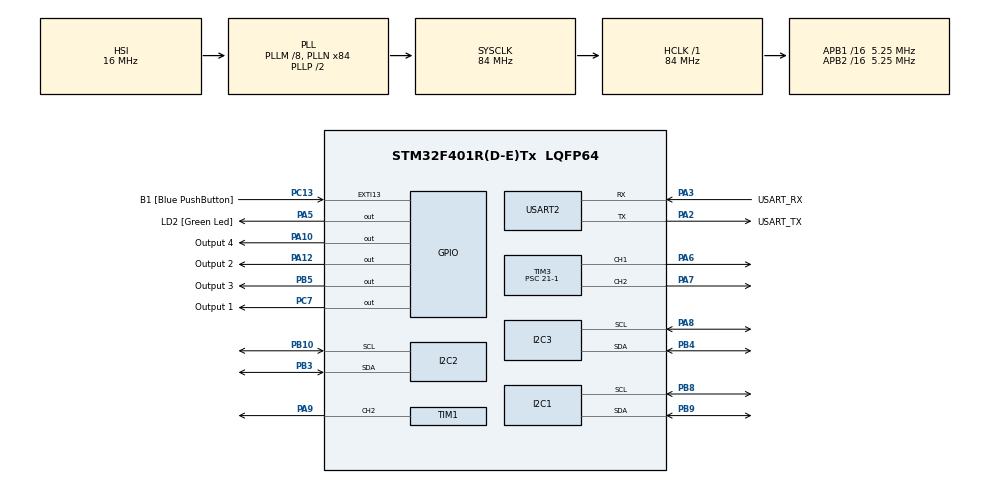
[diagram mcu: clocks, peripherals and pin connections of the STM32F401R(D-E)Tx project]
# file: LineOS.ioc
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FREERTOS.Tasks01=heartbeatTsk,8,128,hearbeatTaskFunc,Default,NULL,Dynamic,NULL,NULL;grabberMotorTsk,8,128,grabberMotorTaskFunc,Default,NULL,Dynamic,NULL,NULL;colourSenseRead,8,256,colourSensorReadTsk,Default,NULL,Dynamic,NULL,NULL;wheelMotorTsk,8,256,wheelMotorTask,Default,NULL,Dynamic,NULL,NULL
FREERTOS.configUSE_TICK_HOOK=1
I2C1.OwnAddress=0
Mcu.Family=STM32F4
Mcu.Name=STM32F401R(D-E)Tx
Mcu.Package=LQFP64
NVIC.PriorityGroup=NVIC_PRIORITYGROUP_4
NVIC.TIM2_IRQn=true\:15\:0\:false\:false\:true\:false\:false\:true\:true
NVIC.TimeBase=TIM2_IRQn
NVIC.TimeBaseIP=TIM2
PA10.GPIO_Label=Output 4
PA10.GPIO_Speed=GPIO_SPEED_FREQ_MEDIUM
PA10.Signal=GPIO_Output
PA12.GPIO_Label=Output 2
PA12.GPIO_Speed=GPIO_SPEED_FREQ_MEDIUM
PA12.Signal=GPIO_Output
PA13.GPIO_Label=TMS
PA13.Mode=Serial_Wire
PA13.Signal=SYS_JTMS-SWDIO
PA14.GPIO_Label=TCK
PA14.Mode=Serial_Wire
PA14.Signal=SYS_JTCK-SWCLK
PA2.GPIO_Label=USART_TX
PA2.GPIO_Mode=GPIO_MODE_AF_PP
PA2.GPIO_PuPd=GPIO_NOPULL
PA2.GPIO_Speed=GPIO_SPEED_FREQ_LOW
PA2.Mode=Asynchronous
PA2.Signal=USART2_TX
PA3.GPIO_Label=USART_RX
PA3.GPIO_Mode=GPIO_MODE_AF_PP
PA3.GPIO_PuPd=GPIO_NOPULL
PA3.GPIO_Speed=GPIO_SPEED_FREQ_LOW
PA3.Mode=Asynchronous
PA3.Signal=USART2_RX
PA5.GPIO_Label=LD2 [Green Led]
PA5.GPIO_Mode=GPIO_MODE_OUTPUT_PP
PA5.GPIO_PuPd=GPIO_NOPULL
PA5.GPIO_Speed=GPIO_SPEED_FREQ_LOW
PA5.Signal=GPIO_Output
PA6.Signal=S_TIM3_CH1
PA7.Signal=S_TIM3_CH2
PA8.Mode=I2C
PA8.Signal=I2C3_SCL
PA9.Signal=S_TIM1_CH2
PB10.GPIO_Pu=GPIO_PULLUP
PB10.Mode=I2C
PB10.Signal=I2C2_SCL
PB3.Mode=I2C
PB3.Signal=I2C2_SDA
PB4.GPIO_Pu=GPIO_PULLUP
PB4.Mode=I2C
PB4.Signal=I2C3_SDA
PB5.GPIO_Label=Output 3
PB5.GPIO_Speed=GPIO_SPEED_FREQ_MEDIUM
PB5.Signal=GPIO_Output
PB8.GPIO_Pu=GPIO_PULLUP
PB8.Mode=I2C
PB8.Signal=I2C1_SCL
PB9.GPIO_Pu=GPIO_PULLUP
PB9.Mode=I2C
PB9.Signal=I2C1_SDA
PC13-ANTI_TAMP.GPIO_Label=B1 [Blue PushButton]
PC13-ANTI_TAMP.GPIO_ModeDefaultEXTI=GPIO_MODE_IT_FALLING
PC13-ANTI_TAMP.GPIO_PuPd=GPIO_NOPULL
PC13-ANTI_TAMP.Signal=GPXTI13
PC14-OSC32_IN.Mode=LSE-External-Oscillator
PC14-OSC32_IN.Signal=RCC_OSC32_IN
PC15-OSC32_OUT.Mode=LSE-External-Oscillator
PC15-OSC32_OUT.Signal=RCC_OSC32_OUT
PC7.GPIO_Label=Output 1
PC7.GPIO_Speed=GPIO_SPEED_FREQ_MEDIUM
PC7.Signal=GPIO_Output
PH0\ -\ OSC_IN.Mode=HSE-External-Clock-Source
PH0\ -\ OSC_IN.Signal=RCC_OSC_IN
PH1\ -\ OSC_OUT.Mode=HSE-External-Clock-Source
PH1\ -\ OSC_OUT.Signal=RCC_OSC_OUT
ProjectManager.HeapSize=0x200
ProjectManager.StackSize=0x400
ProjectManager.TargetToolchain=STM32CubeIDE
RCC.48MHZClocksFreq_Value=24000000
RCC.AHBFreq_Value=84000000
RCC.APB1CLKDivider=RCC_HCLK_DIV16
RCC.APB1Freq_Value=5250000
RCC.APB1TimFreq_Value=10500000
RCC.APB2CLKDivider=RCC_HCLK_DIV16
RCC.APB2Freq_Value=5250000
RCC.APB2TimFreq_Value=10500000
RCC.CortexFreq_Value=84000000
RCC.HCLKFreq_Value=84000000
RCC.HSE_VALUE=8000000
RCC.HSI_VALUE=16000000
RCC.PLLM=8
RCC.PLLN=84
RCC.PLLQ=7
RCC.SYSCLKFreq_VALUE=84000000
RCC.SYSCLKSource=RCC_SYSCLKSOURCE_PLLCLK
RCC.VCOOutputFreq_Value=168000000
SH.S_TIM1_CH2.0=TIM1_CH2,PWM Generation2 CH2
SH.S_TIM3_CH1.0=TIM3_CH1,PWM Generation1 CH1
SH.S_TIM3_CH2.0=TIM3_CH2,PWM Generation2 CH2
TIM1.Channel-PWM\ Generation2\ CH2=TIM_CHANNEL_2
TIM1.Period=1000-1
TIM1.Prescaler=210-1
TIM11.Prescaler=105-1
TIM3.Channel-PWM\ Generation1\ CH1=TIM_CHANNEL_1
TIM3.Channel-PWM\ Generation2\ CH2=TIM_CHANNEL_2
TIM3.Period=250-1
TIM3.Prescaler=21-1
USART2.VirtualMode=VM_ASYNC
VP_FREERTOS_VS_CMSIS_V2.Mode=CMSIS_V2
VP_SYS_VS_tim2.Mode=TIM2
VP_TIM11_VS_ClockSourceINT.Mode=Enable_Timer
board=NUCLEO-F401RE

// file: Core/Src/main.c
/* USER CODE BEGIN Header */
/**
  ******************************************************************************
  * @file           : main.c
  * @brief          : Main program body
  ******************************************************************************
  * @attention
  *
  * Copyright (c) 2024 STMicroelectronics.
  * All rights reserved.
  *
  * This software is licensed under terms that can be found in the LICENSE file
  * in the root directory of this software component.
  * If no LICENSE file comes with this software, it is provided AS-IS.
  *
  ******************************************************************************
  */
/* USER CODE END Header */
#include "main.h"
#include "cmsis_os.h"

/* USER CODE BEGIN Includes */
#include <stdio.h>
#include <stdbool.h>
/* USER CODE END Includes */

/* USER CODE BEGIN PD */
// Only one address is possible for the APDS9960, no alternates are available
static const uint16_t _APDS9960_I2C_ADDRESS = 0x39<<1; //use 8-bit address
//#define _DEVICE_IDS = (const(0xAB), const(0xA8))
#define _APDS9960_ENABLE 0x80
#define _APDS9960_ATIME 0x81
#define _APDS9960_PILT 0x89
#define _APDS9960_PIHT 0x8B
#define _APDS9960_PERS 0x8C
#define _APDS9960_CONTROL 0x8F
#define _APDS9960_ID 0x92
#define _APDS9960_STATUS 0x93
#define _APDS9960_CDATAL 0x94
#define _APDS9960_RDATAL 0x96
#define _APDS9960_GDATAL 0x98
#define _APDS9960_BDATAL 0x9A
#define _APDS9960_PDATA 0x9C
#define _APDS9960_GPENTH 0xA0
#define _APDS9960_GEXTH 0xA1
#define _APDS9960_GCONF1 0xA2
#define _APDS9960_GCONF2 0xA3
#define _APDS9960_GPULSE 0xA6
#define _APDS9960_GCONF4 0xAB
#define _APDS9960_GFLVL 0xAE
#define _APDS9960_GSTATUS 0xAF
#define _APDS9960_AICLEAR 0xE7
#define _APDS9960_GFIFO_U 0xFC
#define _BIT_MASK_GCONF4_GFIFO_CLR 0x04
#define _BIT_MASK_ENABLE_EN 0x01
#define _BIT_MASK_ENABLE_COLOR 0x02
#define _BIT_MASK_STATUS_AVALID 0x01

static const uint16_t _MPU6050_I2C_ADDRESS = 0x68<<1;  //use 8-bit address
#define _MPU6050_ACCEL_XOUTH 0x3B
#define _MPU6050_ACCEL_YOUTH 0x3D
#define _MPU6050_ACCEL_ZOUTH 0x3F

#define _MPU6050_GYRO_XOUTH 0x43
#define _MPU6050_GYRO_YOUTH 0x45
#define _MPU6050_GYRO_ZOUTH 0x47

/* USER CODE END PD */

I2C_HandleTypeDef hi2c1;
I2C_HandleTypeDef hi2c2;
I2C_HandleTypeDef hi2c3;

TIM_HandleTypeDef htim1;
TIM_HandleTypeDef htim3;
TIM_HandleTypeDef htim11;

UART_HandleTypeDef huart2;

/* Definitions for heartbeatTsk */
osThreadId_t heartbeatTskHandle;
const osThreadAttr_t heartbeatTsk_attributes = {
  .name = "heartbeatTsk",
  .stack_size = 128 * 4,
  .priority = (osPriority_t) osPriorityLow,
};
/* Definitions for grabberMotorTsk */
osThreadId_t grabberMotorTskHandle;
const osThreadAttr_t grabberMotorTsk_attributes = {
  .name = "grabberMotorTsk",
  .stack_size = 128 * 4,
  .priority = (osPriority_t) osPriorityLow,
};
/* Definitions for colourSenseRead */
osThreadId_t colourSenseReadHandle;
const osThreadAttr_t colourSenseRead_attributes = {
  .name = "colourSenseRead",
  .stack_size = 256 * 4,
  .priority = (osPriority_t) osPriorityLow,
};
/* Definitions for wheelMotorTsk */
osThreadId_t wheelMotorTskHandle;
const osThreadAttr_t wheelMotorTsk_attributes = {
  .name = "wheelMotorTsk",
  .stack_size = 256 * 4,
  .priority = (osPriority_t) osPriorityLow,
};

void SystemClock_Config(void);
static void MX_GPIO_Init(void);
static void MX_USART2_UART_Init(void);
static void MX_TIM3_Init(void);
static void MX_I2C1_Init(void);
static void MX_I2C3_Init(void);
static void MX_TIM1_Init(void);
static void MX_I2C2_Init(void);
static void MX_TIM11_Init(void);
void hearbeatTaskFunc(void *argument);
void grabberMotorTaskFunc(void *argument);
void colourSensorReadTsk(void *argument);
void wheelMotorTask(void *argument);

/* USER CODE BEGIN PFP */
#ifdef __GNUC__
#define PUTCHAR_PROTOTYPE int __io_putchar(int ch)
#else
#define PUTCHAR_PROTOTYPE int fputc(int ch, FILE *f)
#endif

PUTCHAR_PROTOTYPE
{
  HAL_UART_Transmit(&huart2, (uint8_t *)&ch, 1, HAL_MAX_DELAY);
  return ch;
}

/* USER CODE END PFP */

/* USER CODE BEGIN 0 */
float red_ratio_R = 0;
float red_ratio_L = 0;

float p_term = 0;
float i_term = 0;
float d_term = 0;

bool enable_autonomy = false;
bool is_rescue_complete = false;
bool is_dropoff_complete = false;
bool near_target_milestone = false;
bool near_start_line = false;

float control_signal = 0;
float error_signal = 0;
uint32_t leftMotorDuty = 0;
uint32_t rightMotorDuty = 0;
uint32_t appliedLeftMotorDuty = 0;
uint32_t appliedRightMotorDuty = 0;

uint16_t clear_data_L = 0;
uint16_t red_data_L = 0;
uint16_t green_data_L = 0;
uint16_t blue_data_L = 0;

uint16_t clear_data_R = 0;
uint16_t red_data_R = 0;
uint16_t green_data_R = 0;
uint16_t blue_data_R = 0;

uint16_t clear_data_C = 0;
uint16_t red_data_C = 0;
uint16_t green_data_C = 0;
uint16_t blue_data_C = 0;

float accel_x = 0;
float accel_y = 0;
float accel_z = 0;

float gyro_x = 0;
float gyro_y = 0;
float gyro_z = 0;

float angle_x = 0;
float angle_y = 0;
float angle_z = 0;

float total_time = 0;
float autonomy_start_time = 0;
float target_reached_time = 0;
float dropoff_complete_time = 0;

uint32_t sensorReadCycleTime = 0;
uint32_t controlLoopCycleTime = 0;

/* USER CODE END 0 */

int main(void)
{

  /* MCU Configuration--------------------------------------------------------*/

  /* Reset of all peripherals, Initializes the Flash interface and the Systick. */
  HAL_Init();

  /* Configure the system clock */
  SystemClock_Config();

  /* Initialize all configured peripherals */
  MX_GPIO_Init();
  MX_USART2_UART_Init();
  MX_TIM3_Init();
  MX_I2C1_Init();
  MX_I2C3_Init();
  MX_TIM1_Init();
  MX_I2C2_Init();
  MX_TIM11_Init();
  /* USER CODE BEGIN 2 */

  // Start timer for grabber servo
  HAL_TIM_PWM_Start(&htim1, TIM_CHANNEL_2);
  //htim1.Instance->CCR2 = 50; // initialize pulse width to 1ms = 0 degree positon

  // Start timer for motor driver (left and right motors)
  HAL_TIM_PWM_Start(&htim3, TIM_CHANNEL_1);
  HAL_TIM_PWM_Start(&htim3, TIM_CHANNEL_2);
  htim3.Instance->CCR1 = 0; // initialize duty cycle to 0% - Motor off
  htim3.Instance->CCR2 = 0; // initialize duty cycle to 0% - Motor off

  HAL_TIM_Base_Start(&htim11);	// 100Khz

  /* USER CODE END 2 */

  /* Init scheduler */
  osKernelInitialize();

  /* Create the thread(s) */
  /* creation of heartbeatTsk */
  heartbeatTskHandle = osThreadNew(hearbeatTaskFunc, NULL, &heartbeatTsk_attributes);

  /* creation of grabberMotorTsk */
  grabberMotorTskHandle = osThreadNew(grabberMotorTaskFunc, NULL, &grabberMotorTsk_attributes);

  /* creation of colourSenseRead */
  colourSenseReadHandle = osThreadNew(colourSensorReadTsk, NULL, &colourSenseRead_attributes);

  /* creation of wheelMotorTsk */
  wheelMotorTskHandle = osThreadNew(wheelMotorTask, NULL, &wheelMotorTsk_attributes);

  /* Start scheduler */
  osKernelStart();
  /* We should never get here as control is now taken by the scheduler */
  /* Infinite loop */
  while (1)
  {

  }
}

void SystemClock_Config(void)
{
  RCC_OscInitTypeDef RCC_OscInitStruct = {0};
  RCC_ClkInitTypeDef RCC_ClkInitStruct = {0};

  /** Configure the main internal regulator output voltage
  */
  __HAL_RCC_PWR_CLK_ENABLE();
  __HAL_PWR_VOLTAGESCALING_CONFIG(PWR_REGULATOR_VOLTAGE_SCALE2);

  /** Initializes the RCC Oscillators according to the specified parameters
  * in the RCC_OscInitTypeDef structure.
  */
  RCC_OscInitStruct.OscillatorType = RCC_OSCILLATORTYPE_HSI;
  RCC_OscInitStruct.HSIState = RCC_HSI_ON;
  RCC_OscInitStruct.HSICalibrationValue = RCC_HSICALIBRATION_DEFAULT;
  RCC_OscInitStruct.PLL.PLLState = RCC_PLL_ON;
  RCC_OscInitStruct.PLL.PLLSource = RCC_PLLSOURCE_HSI;
  RCC_OscInitStruct.PLL.PLLM = 8;
  RCC_OscInitStruct.PLL.PLLN = 84;
  RCC_OscInitStruct.PLL.PLLP = RCC_PLLP_DIV2;
  RCC_OscInitStruct.PLL.PLLQ = 7;
  if (HAL_RCC_OscConfig(&RCC_OscInitStruct) != HAL_OK)
  {
    Error_Handler();
  }

  /** Initializes the CPU, AHB and APB buses clocks
  */
  RCC_ClkInitStruct.ClockType = RCC_CLOCKTYPE_HCLK|RCC_CLOCKTYPE_SYSCLK
                              |RCC_CLOCKTYPE_PCLK1|RCC_CLOCKTYPE_PCLK2;
  RCC_ClkInitStruct.SYSCLKSource = RCC_SYSCLKSOURCE_PLLCLK;
  RCC_ClkInitStruct.AHBCLKDivider = RCC_SYSCLK_DIV1;
  RCC_ClkInitStruct.APB1CLKDivider = RCC_HCLK_DIV16;
  RCC_ClkInitStruct.APB2CLKDivider = RCC_HCLK_DIV16;

  if (HAL_RCC_ClockConfig(&RCC_ClkInitStruct, FLASH_LATENCY_2) != HAL_OK)
  {
    Error_Handler();
  }
}

static void MX_I2C1_Init(void)
{

  hi2c1.Instance = I2C1;
  hi2c1.Init.ClockSpeed = 100000;
  hi2c1.Init.DutyCycle = I2C_DUTYCYCLE_2;
  hi2c1.Init.OwnAddress1 = 0;
  hi2c1.Init.AddressingMode = I2C_ADDRESSINGMODE_7BIT;
  hi2c1.Init.DualAddressMode = I2C_DUALADDRESS_DISABLE;
  hi2c1.Init.OwnAddress2 = 0;
  hi2c1.Init.GeneralCallMode = I2C_GENERALCALL_DISABLE;
  hi2c1.Init.NoStretchMode = I2C_NOSTRETCH_DISABLE;
  if (HAL_I2C_Init(&hi2c1) != HAL_OK)
  {
    Error_Handler();
  }

}

static void MX_I2C2_Init(void)
{

  hi2c2.Instance = I2C2;
  hi2c2.Init.ClockSpeed = 100000;
  hi2c2.Init.DutyCycle = I2C_DUTYCYCLE_2;
  hi2c2.Init.OwnAddress1 = 0;
  hi2c2.Init.AddressingMode = I2C_ADDRESSINGMODE_7BIT;
  hi2c2.Init.DualAddressMode = I2C_DUALADDRESS_DISABLE;
  hi2c2.Init.OwnAddress2 = 0;
  hi2c2.Init.GeneralCallMode = I2C_GENERALCALL_DISABLE;
  hi2c2.Init.NoStretchMode = I2C_NOSTRETCH_DISABLE;
  if (HAL_I2C_Init(&hi2c2) != HAL_OK)
  {
    Error_Handler();
  }

}

static void MX_I2C3_Init(void)
{

  hi2c3.Instance = I2C3;
  hi2c3.Init.ClockSpeed = 100000;
  hi2c3.Init.DutyCycle = I2C_DUTYCYCLE_2;
  hi2c3.Init.OwnAddress1 = 0;
  hi2c3.Init.AddressingMode = I2C_ADDRESSINGMODE_7BIT;
  hi2c3.Init.DualAddressMode = I2C_DUALADDRESS_DISABLE;
  hi2c3.Init.OwnAddress2 = 0;
  hi2c3.Init.GeneralCallMode = I2C_GENERALCALL_DISABLE;
  hi2c3.Init.NoStretchMode = I2C_NOSTRETCH_DISABLE;
  if (HAL_I2C_Init(&hi2c3) != HAL_OK)
  {
    Error_Handler();
  }

}

static void MX_TIM1_Init(void)
{

  TIM_MasterConfigTypeDef sMasterConfig = {0};
  TIM_OC_InitTypeDef sConfigOC = {0};
  TIM_BreakDeadTimeConfigTypeDef sBreakDeadTimeConfig = {0};

  htim1.Instance = TIM1;
  htim1.Init.Prescaler = 210-1;
  htim1.Init.CounterMode = TIM_COUNTERMODE_UP;
  htim1.Init.Period = 1000-1;
  htim1.Init.ClockDivision = TIM_CLOCKDIVISION_DIV1;
  htim1.Init.RepetitionCounter = 0;
  htim1.Init.AutoReloadPreload = TIM_AUTORELOAD_PRELOAD_DISABLE;
  if (HAL_TIM_PWM_Init(&htim1) != HAL_OK)
  {
    Error_Handler();
  }
  sMasterConfig.MasterOutputTrigger = TIM_TRGO_RESET;
  sMasterConfig.MasterSlaveMode = TIM_MASTERSLAVEMODE_DISABLE;
  if (HAL_TIMEx_MasterConfigSynchronization(&htim1, &sMasterConfig) != HAL_OK)
  {
    Error_Handler();
  }
  sConfigOC.OCMode = TIM_OCMODE_PWM1;
  sConfigOC.Pulse = 0;
  sConfigOC.OCPolarity = TIM_OCPOLARITY_HIGH;
  sConfigOC.OCNPolarity = TIM_OCNPOLARITY_HIGH;
  sConfigOC.OCFastMode = TIM_OCFAST_DISABLE;
  sConfigOC.OCIdleState = TIM_OCIDLESTATE_RESET;
  sConfigOC.OCNIdleState = TIM_OCNIDLESTATE_RESET;
  if (HAL_TIM_PWM_ConfigChannel(&htim1, &sConfigOC, TIM_CHANNEL_2) != HAL_OK)
  {
    Error_Handler();
  }
  sBreakDeadTimeConfig.OffStateRunMode = TIM_OSSR_DISABLE;
  sBreakDeadTimeConfig.OffStateIDLEMode = TIM_OSSI_DISABLE;
  sBreakDeadTimeConfig.LockLevel = TIM_LOCKLEVEL_OFF;
  sBreakDeadTimeConfig.DeadTime = 0;
  sBreakDeadTimeConfig.BreakState = TIM_BREAK_DISABLE;
  sBreakDeadTimeConfig.BreakPolarity = TIM_BREAKPOLARITY_HIGH;
  sBreakDeadTimeConfig.AutomaticOutput = TIM_AUTOMATICOUTPUT_DISABLE;
  if (HAL_TIMEx_ConfigBreakDeadTime(&htim1, &sBreakDeadTimeConfig) != HAL_OK)
  {
    Error_Handler();
  }
  HAL_TIM_MspPostInit(&htim1);

}

static void MX_TIM3_Init(void)
{

  TIM_MasterConfigTypeDef sMasterConfig = {0};
  TIM_OC_InitTypeDef sConfigOC = {0};

  htim3.Instance = TIM3;
  htim3.Init.Prescaler = 21-1;
  htim3.Init.CounterMode = TIM_COUNTERMODE_UP;
  htim3.Init.Period = 250-1;
  htim3.Init.ClockDivision = TIM_CLOCKDIVISION_DIV1;
  htim3.Init.AutoReloadPreload = TIM_AUTORELOAD_PRELOAD_DISABLE;
  if (HAL_TIM_PWM_Init(&htim3) != HAL_OK)
  {
    Error_Handler();
  }
  sMasterConfig.MasterOutputTrigger = TIM_TRGO_RESET;
  sMasterConfig.MasterSlaveMode = TIM_MASTERSLAVEMODE_DISABLE;
  if (HAL_TIMEx_MasterConfigSynchronization(&htim3, &sMasterConfig) != HAL_OK)
  {
    Error_Handler();
  }
  sConfigOC.OCMode = TIM_OCMODE_PWM1;
  sConfigOC.Pulse = 0;
  sConfigOC.OCPolarity = TIM_OCPOLARITY_HIGH;
  sConfigOC.OCFastMode = TIM_OCFAST_DISABLE;
  if (HAL_TIM_PWM_ConfigChannel(&htim3, &sConfigOC, TIM_CHANNEL_1) != HAL_OK)
  {
    Error_Handler();
  }
  if (HAL_TIM_PWM_ConfigChannel(&htim3, &sConfigOC, TIM_CHANNEL_2) != HAL_OK)
  {
    Error_Handler();
  }
  HAL_TIM_MspPostInit(&htim3);

}

static void MX_TIM11_Init(void)
{

  htim11.Instance = TIM11;
  htim11.Init.Prescaler = 105-1;
  htim11.Init.CounterMode = TIM_COUNTERMODE_UP;
  htim11.Init.Period = 65535;
  htim11.Init.ClockDivision = TIM_CLOCKDIVISION_DIV1;
  htim11.Init.AutoReloadPreload = TIM_AUTORELOAD_PRELOAD_DISABLE;
  if (HAL_TIM_Base_Init(&htim11) != HAL_OK)
  {
    Error_Handler();
  }

}

static void MX_USART2_UART_Init(void)
{

  huart2.Instance = USART2;
  huart2.Init.BaudRate = 115200;
  huart2.Init.WordLength = UART_WORDLENGTH_8B;
  huart2.Init.StopBits = UART_STOPBITS_1;
  huart2.Init.Parity = UART_PARITY_NONE;
  huart2.Init.Mode = UART_MODE_TX_RX;
  huart2.Init.HwFlowCtl = UART_HWCONTROL_NONE;
  huart2.Init.OverSampling = UART_OVERSAMPLING_16;
  if (HAL_UART_Init(&huart2) != HAL_OK)
  {
    Error_Handler();
  }

}

static void MX_GPIO_Init(void)
{
  GPIO_InitTypeDef GPIO_InitStruct = {0};

  /* GPIO Ports Clock Enable */
  __HAL_RCC_GPIOC_CLK_ENABLE();
  __HAL_RCC_GPIOH_CLK_ENABLE();
  __HAL_RCC_GPIOA_CLK_ENABLE();
  __HAL_RCC_GPIOB_CLK_ENABLE();

  /*Configure GPIO pin Output Level */
  HAL_GPIO_WritePin(GPIOA, LD2_Pin|Output_4_Pin|Output_2_Pin, GPIO_PIN_RESET);

  /*Configure GPIO pin Output Level */
  HAL_GPIO_WritePin(Output_1_GPIO_Port, Output_1_Pin, GPIO_PIN_RESET);

  /*Configure GPIO pin Output Level */
  HAL_GPIO_WritePin(Output_3_GPIO_Port, Output_3_Pin, GPIO_PIN_RESET);

  /*Configure GPIO pin : B1_Pin */
  GPIO_InitStruct.Pin = B1_Pin;
  GPIO_InitStruct.Mode = GPIO_MODE_IT_FALLING;
  GPIO_InitStruct.Pull = GPIO_NOPULL;
  HAL_GPIO_Init(B1_GPIO_Port, &GPIO_InitStruct);

  /*Configure GPIO pin : LD2_Pin */
  GPIO_InitStruct.Pin = LD2_Pin;
  GPIO_InitStruct.Mode = GPIO_MODE_OUTPUT_PP;
  GPIO_InitStruct.Pull = GPIO_NOPULL;
  GPIO_InitStruct.Speed = GPIO_SPEED_FREQ_LOW;
  HAL_GPIO_Init(LD2_GPIO_Port, &GPIO_InitStruct);

  /*Configure GPIO pin : Output_1_Pin */
  GPIO_InitStruct.Pin = Output_1_Pin;
  GPIO_InitStruct.Mode = GPIO_MODE_OUTPUT_PP;
  GPIO_InitStruct.Pull = GPIO_NOPULL;
  GPIO_InitStruct.Speed = GPIO_SPEED_FREQ_MEDIUM;
  HAL_GPIO_Init(Output_1_GPIO_Port, &GPIO_InitStruct);

  /*Configure GPIO pins : Output_4_Pin Output_2_Pin */
  GPIO_InitStruct.Pin = Output_4_Pin|Output_2_Pin;
  GPIO_InitStruct.Mode = GPIO_MODE_OUTPUT_PP;
  GPIO_InitStruct.Pull = GPIO_NOPULL;
  GPIO_InitStruct.Speed = GPIO_SPEED_FREQ_MEDIUM;
  HAL_GPIO_Init(GPIOA, &GPIO_InitStruct);

  /*Configure GPIO pin : Output_3_Pin */
  GPIO_InitStruct.Pin = Output_3_Pin;
  GPIO_InitStruct.Mode = GPIO_MODE_OUTPUT_PP;
  GPIO_InitStruct.Pull = GPIO_NOPULL;
  GPIO_InitStruct.Speed = GPIO_SPEED_FREQ_MEDIUM;
  HAL_GPIO_Init(Output_3_GPIO_Port, &GPIO_InitStruct);

}

/* USER CODE BEGIN 4 */
typedef enum {
    FORWARD,
    BACKWARD
} motor_direction_t;

typedef enum {
    LEFT,
    RIGHT
} motor_side_t;

void setMotorDirection(motor_direction_t direction, motor_side_t side)
{
	if (direction == FORWARD)
	{
		if(side == RIGHT)
		{
			//Setting motor 1 to forward
			HAL_GPIO_WritePin(GPIOC, Output_1_Pin, GPIO_PIN_RESET);
			HAL_GPIO_WritePin(GPIOA, Output_2_Pin, GPIO_PIN_SET);
		}
		else
		{
			//Setting motor 2 to forward
			HAL_GPIO_WritePin(GPIOB, Output_3_Pin, GPIO_PIN_RESET);
			HAL_GPIO_WritePin(GPIOA, Output_4_Pin, GPIO_PIN_SET);
		}

	}
	else if (direction == BACKWARD)
	{
		if(side == RIGHT)
		{
			//Setting motor 1 to backward
			HAL_GPIO_WritePin(GPIOA, Output_2_Pin, GPIO_PIN_RESET);
			HAL_GPIO_WritePin(GPIOC, Output_1_Pin, GPIO_PIN_SET);
		}
		else
		{
			//Setting motor 2 to backward
			HAL_GPIO_WritePin(GPIOA, Output_4_Pin, GPIO_PIN_RESET);
			HAL_GPIO_WritePin(GPIOB, Output_3_Pin, GPIO_PIN_SET);
		}
	}
}

void setMotorsOff()
{
	// Resetting all motor input pins
	HAL_GPIO_WritePin(GPIOC, Output_1_Pin, GPIO_PIN_RESET);
	HAL_GPIO_WritePin(GPIOA, Output_2_Pin, GPIO_PIN_RESET);
	HAL_GPIO_WritePin(GPIOB, Output_3_Pin, GPIO_PIN_RESET);
	HAL_GPIO_WritePin(GPIOA, Output_4_Pin, GPIO_PIN_RESET);
}

void setRightMotorDutyCycle(uint16_t duty)
{
	htim3.Instance->CCR1=duty;
}

void setLeftMotorDutyCycle(uint16_t duty)
{
	htim3.Instance->CCR2=duty;
}

bool colourSensorSetup(I2C_HandleTypeDef *i2cHandle)
{
	printf("Colour Sensor Setup BEGIN\n");
	HAL_StatusTypeDef ret = HAL_OK;
	uint8_t buf[2];
	//Reset basic config registers to power-on defaults
	buf[0] = _APDS9960_GPENTH;
	buf[1] = 0;
	ret = HAL_I2C_Master_Transmit(i2cHandle, _APDS9960_I2C_ADDRESS, buf, 2, HAL_MAX_DELAY);
	if(ret != HAL_OK)
	{
		printf("FAILED at A");
		return false;
	}
	buf[0] = _APDS9960_GEXTH;
	buf[1] = 0;
	ret = HAL_I2C_Master_Transmit(i2cHandle, _APDS9960_I2C_ADDRESS, buf, 2, HAL_MAX_DELAY);
	if(ret != HAL_OK)
	{
		printf("FAILED at B");
		return false;
	}
	buf[0] = _APDS9960_GCONF1;
	buf[1] = 0;
	ret = HAL_I2C_Master_Transmit(i2cHandle, _APDS9960_I2C_ADDRESS, buf, 2, HAL_MAX_DELAY);
	if(ret != HAL_OK)
	{
		printf("FAILED at C");
		return false;
	}
	buf[0] = _APDS9960_GCONF2;
	buf[1] = 0;
	ret = HAL_I2C_Master_Transmit(i2cHandle, _APDS9960_I2C_ADDRESS, buf, 2, HAL_MAX_DELAY);
	if(ret != HAL_OK)
	{
		printf("FAILED at D");
		return false;
	}
	buf[0] = _APDS9960_GCONF4;
	buf[1] = 0;
	ret = HAL_I2C_Master_Transmit(i2cHandle, _APDS9960_I2C_ADDRESS, buf, 2, HAL_MAX_DELAY);
	if(ret != HAL_OK)
	{
		printf("FAILED at E");
		return false;
	}
	buf[0] = _APDS9960_GPULSE;
	buf[1] = 0;
	ret = HAL_I2C_Master_Transmit(i2cHandle, _APDS9960_I2C_ADDRESS, buf, 2, HAL_MAX_DELAY);
	if(ret != HAL_OK)
	{
		printf("FAILED at F");
		return false;
	}
	buf[0] = _APDS9960_ATIME;
	buf[1] = 255;
	ret = HAL_I2C_Master_Transmit(i2cHandle, _APDS9960_I2C_ADDRESS, buf, 2, HAL_MAX_DELAY);
	if(ret != HAL_OK)
	{
		printf("FAILED at G");
		return false;
	}
	buf[0] = _APDS9960_CONTROL;
	buf[1] = 3;
	ret = HAL_I2C_Master_Transmit(i2cHandle, _APDS9960_I2C_ADDRESS, buf, 2, HAL_MAX_DELAY);
	if(ret != HAL_OK)
	{
		printf("FAILED at H");
		return false;
	}
	buf[0] = _APDS9960_CONTROL;
	buf[1] = 3;
	ret = HAL_I2C_Master_Transmit(i2cHandle, _APDS9960_I2C_ADDRESS, buf, 2, HAL_MAX_DELAY);
	if(ret != HAL_OK)
	{
		printf("FAILED at I");
		return false;
	}

	//Clear all non-gesture interrupts
	buf[0] = _APDS9960_AICLEAR;
	ret = HAL_I2C_Master_Transmit(i2cHandle, _APDS9960_I2C_ADDRESS, buf, 1, HAL_MAX_DELAY);
	if(ret != HAL_OK)
	{
		printf("FAILED at J");
		return false;
	}

	//Clear gesture FIFOs and interrupt
	ret = HAL_I2C_Mem_Read(i2cHandle, _APDS9960_I2C_ADDRESS, _APDS9960_GCONF4, 1, buf, 1, HAL_MAX_DELAY);
	if(ret != HAL_OK)
	{
		printf("FAILED at K");
		return false;
	}
	buf[1] = buf[0];	// move current GCONF4 value into buf[1]
	buf[1] |= _BIT_MASK_GCONF4_GFIFO_CLR;
	buf[0] = _APDS9960_GCONF4;
	ret = HAL_I2C_Master_Transmit(i2cHandle, _APDS9960_I2C_ADDRESS, buf, 2, HAL_MAX_DELAY);
	if(ret != HAL_OK)
	{
		printf("FAILED at L");
		return false;
	}

	//Disable sensor and all functions/interrupts
	buf[0] = _APDS9960_ENABLE;
	buf[1] = 0;
	ret = HAL_I2C_Master_Transmit(i2cHandle, _APDS9960_I2C_ADDRESS, buf, 2, HAL_MAX_DELAY);
	if(ret != HAL_OK)
	{
		printf("FAILED at M");
		return false;
	}
	osDelay(25); //Sleeping could take at ~2-25 ms if engines were looping

	//Re-enable sensor and wait 10ms for the power on delay to finish
	buf[0] = 0;
	buf[1] = 0;
	ret = HAL_I2C_Mem_Read(i2cHandle, _APDS9960_I2C_ADDRESS, _APDS9960_ENABLE, 1, buf, 1, HAL_MAX_DELAY);
	if(ret != HAL_OK)
	{
		printf("FAILED at N");
		return false;
	}
	buf[1] = buf[0];	// move current _APDS9960_ENABLE value into buf[1]
	buf[1] |= _BIT_MASK_ENABLE_EN;
	buf[1] |= _BIT_MASK_ENABLE_COLOR;
	buf[0] = _APDS9960_ENABLE;
	ret = HAL_I2C_Master_Transmit(i2cHandle, _APDS9960_I2C_ADDRESS, buf, 2, HAL_MAX_DELAY);
	if(ret != HAL_OK)
	{
		printf("FAILED at O");
		return false;
	}
	osDelay(25);
	buf[0] = 100;
	ret = HAL_I2C_Mem_Read(i2cHandle, _APDS9960_I2C_ADDRESS, _APDS9960_ENABLE, 1, buf, 1, HAL_MAX_DELAY);
	if(ret != HAL_OK)
	{
		printf("FAILED at P");
		return false;
	}

	if(ret != HAL_OK)
	{
		printf("Colour sensor enable FAILED");
		return false;
	}
	printf("Colour Sensor has been enabled\n");
	return true;
}

int colourSensorRead(I2C_HandleTypeDef *i2cHandle, uint16_t* red, uint16_t* green, uint16_t* blue, uint16_t* clear)
{

	int ret = 0;
	uint8_t buf[8];

	// Check if color data ready
	//ret = HAL_I2C_Mem_Read(&hi2c1, _APDS9960_I2C_ADDRESS, _APDS9960_STATUS, 1, buf, 1, HAL_MAX_DELAY);
	//uint8_t c_data_ready = buf[0] & _BIT_MASK_STATUS_AVALID;

	//read colour data from I2C
	ret = HAL_I2C_Mem_Read(i2cHandle, _APDS9960_I2C_ADDRESS, _APDS9960_CDATAL, 1, buf, 8, HAL_MAX_DELAY);
	*clear = buf[1] << 8 | buf[0];
	*red = buf[3] << 8 | buf[2];
	*green = buf[5] << 8 | buf[4];
	*blue = buf[7] << 8 | buf[6];

	return ret;
}

bool IMUSensorSetup(I2C_HandleTypeDef *i2cHandle)
{
	printf("IMU Sensor Setup BEGIN\n");
	HAL_StatusTypeDef ret = HAL_OK;
	uint8_t buf[2];

	// trigger sensor reset
	buf[0] = 0x6B;
	buf[1] = 0;
	ret = HAL_I2C_Master_Transmit(i2cHandle, _MPU6050_I2C_ADDRESS, buf, 2, HAL_MAX_DELAY);

	// Configure Accelerometer Sensitivity - Full Scale Range (default +/- 2g)
	buf[0] = 0x1C;
	buf[1] = 0x10;
	ret = HAL_I2C_Master_Transmit(i2cHandle, _MPU6050_I2C_ADDRESS, buf, 2, HAL_MAX_DELAY);

	// Configure Gyro Sensitivity - Full Scale Range (default +/- 250deg/s)
	buf[0] = 0x1B;
	buf[1] = 0x10;
	ret = HAL_I2C_Master_Transmit(i2cHandle, _MPU6050_I2C_ADDRESS, buf, 2, HAL_MAX_DELAY);

	if(ret != HAL_OK)
	{
		printf("IMU sensor enable FAILED");
		return false;
	}
	printf("IMU Sensor has been enabled\n");
	return true;
}

int readAccelValues(I2C_HandleTypeDef *i2cHandle, float* x, float* y, float* z)
{

	int ret = 0;
	uint8_t buf[6];

	ret = HAL_I2C_Mem_Read(i2cHandle, _MPU6050_I2C_ADDRESS, _MPU6050_ACCEL_XOUTH, 1, buf, 6, HAL_MAX_DELAY);
	*x = buf[0] << 8 | buf[1];
	*y = buf[2] << 8 | buf[3];
	*z = buf[4] << 8 | buf[5];

	return ret;
}

int readGyroValues(I2C_HandleTypeDef *i2cHandle, float* x, float* y, float* z)
{

	int ret = 0;
	uint8_t buf[6];

	ret = HAL_I2C_Mem_Read(i2cHandle, _MPU6050_I2C_ADDRESS, _MPU6050_GYRO_XOUTH, 1, buf, 6, HAL_MAX_DELAY);
	*x = (int16_t)(~(buf[0] << 8 | buf[1])+1) / 32.8;
	*y =  (int16_t)(~(buf[2] << 8 | buf[3])+1) / 32.8;
	*z =  (int16_t)(~(buf[4] << 8 | buf[5])+1) / 32.8;

	return ret;
}

/* USER CODE END 4 */

/* USER CODE BEGIN Header_hearbeatTaskFunc */
/**
  * @brief  Function implementing the heartbeatTsk thread. Sends out Hello World message over UART as a heartbeat at a rate of 1Hz
  * @param  argument: Not used
  * @retval None
  */
/* USER CODE END Header_hearbeatTaskFunc */
void hearbeatTaskFunc(void *argument)
{
  /* USER CODE BEGIN 5 */
	bool debounce = false;
	/* Infinite loop */
	 for(;;)
	 {
		 if(!HAL_GPIO_ReadPin(B1_GPIO_Port, B1_Pin))
		 {
			 debounce = true;
			 osDelay(150);
		 }else if(debounce)
		 {
			 debounce = false;
			 enable_autonomy = !enable_autonomy;
			 if(enable_autonomy)
			 {
				 autonomy_start_time = total_time;
			 }
			 printf("Button pressed, new autonomy state %d!", enable_autonomy);
		 }
	 }
  /* USER CODE END 5 */
}

void grabberMotorTaskFunc(void *argument)
{
  /* USER CODE BEGIN grabberMotorTaskFunc */
  /* This task moves the grabber servo motor from 0degrees to 180degrees then resets to 0degrees and repeats*/
  // 50 -> 100 : 0deg to 180deg linearly
  for(;;)
  {
	//htim1.Instance->CCR2 = 50;
	osDelay(200);
  }
  /* USER CODE END grabberMotorTaskFunc */
}

void colourSensorReadTsk(void *argument)
{
  /* USER CODE BEGIN colourSensorReadTsk */

	// setup i2C interfaces
	colourSensorSetup(&hi2c3);
	colourSensorSetup(&hi2c2);
	colourSensorSetup(&hi2c1);
	//IMUSensorSetup(&hi2c1);

	// initialize for cycle timing
	uint16_t last_time = __HAL_TIM_GET_COUNTER(&htim11);
	uint16_t current_time = __HAL_TIM_GET_COUNTER(&htim11);

	//float GyroErrorX, GyroErrorY, GyroErrorZ;
	//uint32_t c = 0;

	 /* Infinite loop */
	for(;;)
	{
		//c++;

		// cycle timing
		current_time = __HAL_TIM_GET_COUNTER(&htim11);
		if(current_time > last_time)
		{
			sensorReadCycleTime = current_time-last_time;
		}else
		{
			sensorReadCycleTime = (65535 - last_time)+current_time;
		}
		last_time = __HAL_TIM_GET_COUNTER(&htim11);
		total_time += (float)sensorReadCycleTime/100000;

		// read from side sensors
		colourSensorRead(&hi2c3, &red_data_R, &green_data_R, &blue_data_R, &clear_data_R);
		colourSensorRead(&hi2c1, &red_data_L, &green_data_L, &blue_data_L, &clear_data_L);

		// read from center sensor
		colourSensorRead(&hi2c2, &red_data_C, &green_data_C, &blue_data_C, &clear_data_C);

		// calculate ratio of red wavelength to total wavelength strength
		red_ratio_R = ((float)red_data_R / (float)(red_data_R+green_data_R+blue_data_R))*100;
		red_ratio_L = ((float)red_data_L / (float)(red_data_L+green_data_L+blue_data_L))*100;

		// read acceleration and gyro data
		//readAccelValues(&hi2c1, &accel_x, &accel_y, &accel_z);

		//readGyroValues(&hi2c1, &gyro_x, &gyro_y, &gyro_z);
		//gyro_x+= -4.19;
		//gyro_y+=0.34;
		//gyro_z+=0.89;
		// calibration routine
		//GyroErrorX += gyro_x;
		//GyroErrorY += gyro_y;
		//GyroErrorZ += gyro_z;
		//angle_x = GyroErrorX / c;
		//angle_y = GyroErrorY / c;
		//angle_z = GyroErrorZ / c;

		// calculate actual angle values
		//angle_x += gyro_x*sensorReadCycleTime*(1E-5);
		//angle_y += gyro_y*sensorReadCycleTime*(1E-5);
		//angle_z += gyro_z*sensorReadCycleTime*(1E-5);

	 }
  /* USER CODE END colourSensorReadTsk */
}

void wheelMotorTask(void *argument)
{
  /* USER CODE BEGIN wheelMotorTask */
	uint16_t base_speed = 200;	// (200) 50 is lowest possible
	uint16_t base_turn_speed = 200;
	uint16_t base_crawl_speed = 80;
	uint16_t base_pivot_speed = 80;
	float turn_compensation_factor = 1;

	const uint16_t target_max_blue = 150; //125
	const uint16_t start_line_blue_side = 65;
	const uint16_t start_line_blue_center = 65;
	const float near_target_time = 24;

	const float Kp = 1.5; //4, 6, 10 30
	const float Ki = 0; //0
	const float Kd = 2; //0
	const float error_max = 12; //30

	float previous_error = 0;
	float integral = 0;

	const uint16_t open_pwm = 62;
	const uint16_t closed_pwm = 115; //50 is lowest

	uint16_t last_time = __HAL_TIM_GET_COUNTER(&htim11);
	uint16_t current_time = __HAL_TIM_GET_COUNTER(&htim11);

	setMotorDirection(FORWARD, LEFT);
	setMotorDirection(FORWARD, RIGHT);
	setLeftMotorDutyCycle((uint16_t)(0));
	setRightMotorDutyCycle((uint16_t)(0));

	htim1.Instance->CCR2 = open_pwm;
	osDelay(1000);
	htim1.Instance->CCR2 = 0;

	const float taskPeriod = 3;
	  /* Infinite loop */
	  for(;;)
	  {
		 // cycle timing
		 current_time = __HAL_TIM_GET_COUNTER(&htim11);
		 if(current_time > last_time)
		 {
			 controlLoopCycleTime = current_time-last_time;
		 }else
		 {
			 controlLoopCycleTime = (65535 - last_time)+current_time;

		 }
		 last_time = __HAL_TIM_GET_COUNTER(&htim11);

		// slow down before reaching target
		if(((total_time-autonomy_start_time) > near_target_time) && (enable_autonomy && !is_rescue_complete))
		{
			near_target_milestone = true;
			base_speed = 100;
			base_turn_speed = 60;
		}

		// slow down before reaching stop line
		if((total_time-dropoff_complete_time > 19) && is_dropoff_complete)
		{
			near_start_line = true;
			base_speed = 100;
			base_turn_speed = 60;
		}

		// drop off routine
		if((green_data_C > 75 && green_data_R > 95) && (is_rescue_complete && enable_autonomy))
		{
			if(((total_time-target_reached_time) > 4) && !is_dropoff_complete)
			{
				setLeftMotorDutyCycle((uint16_t)(0));
				setRightMotorDutyCycle((uint16_t)(0));
				setMotorDirection(FORWARD, LEFT);
				setMotorDirection(FORWARD, RIGHT);
				osDelay(100);

				setLeftMotorDutyCycle((uint16_t)(base_speed + 10));
				setRightMotorDutyCycle((uint16_t)(base_speed));
				osDelay(100);

				setLeftMotorDutyCycle((uint16_t)(0));
				setRightMotorDutyCycle((uint16_t)(0));
				setMotorDirection(FORWARD, LEFT);
				setMotorDirection(FORWARD, RIGHT);
				htim1.Instance->CCR2 = open_pwm;
				osDelay(100);

				setMotorDirection(BACKWARD, LEFT);
				setMotorDirection(BACKWARD, RIGHT);
				setLeftMotorDutyCycle((uint16_t)(base_speed));
				setRightMotorDutyCycle((uint16_t)(base_speed));
				osDelay(600);

				htim1.Instance->CCR2 = closed_pwm;
				setMotorDirection(FORWARD, LEFT);
				setMotorDirection(FORWARD, RIGHT);
				is_dropoff_complete = true;
				dropoff_complete_time=total_time;
			}
		}

		// target detection routine
		if((blue_data_C > target_max_blue && enable_autonomy) && (!is_rescue_complete && near_target_milestone))
		{

			// Stop to stabilize
			setLeftMotorDutyCycle((uint16_t)(0));
			setRightMotorDutyCycle((uint16_t)(0));
			setMotorDirection(FORWARD, LEFT);
			setMotorDirection(FORWARD, RIGHT);
			htim1.Instance->CCR2 = open_pwm;
			osDelay(100);

			// Crawl forward
			setMotorDirection(FORWARD, LEFT);
			setMotorDirection(FORWARD, RIGHT);
			setLeftMotorDutyCycle((uint16_t)(base_crawl_speed));
			setRightMotorDutyCycle((uint16_t)(base_crawl_speed));
			osDelay(75);

			// Stop to stabilize
			setLeftMotorDutyCycle((uint16_t)(0));
			setRightMotorDutyCycle((uint16_t)(0));
			setMotorDirection(FORWARD, LEFT);
			setMotorDirection(FORWARD, RIGHT);
			htim1.Instance->CCR2 = open_pwm;
			osDelay(100);

			// close grabber
			htim1.Instance->CCR2 = closed_pwm;
			osDelay(200);

			// Crawl forward
			setMotorDirection(FORWARD, LEFT);
			setMotorDirection(FORWARD, RIGHT);
			setLeftMotorDutyCycle((uint16_t)(base_crawl_speed));
			setRightMotorDutyCycle((uint16_t)(base_crawl_speed));
			osDelay(600);

			// Pivot turn right
			setMotorDirection(FORWARD, LEFT);
			setMotorDirection(BACKWARD, RIGHT);
			setLeftMotorDutyCycle((uint16_t)(base_pivot_speed));
			setRightMotorDutyCycle((uint16_t)(base_pivot_speed));
			osDelay(1400);

			// Stop for stabilization
			setMotorDirection(FORWARD, LEFT);
			setMotorDirection(FORWARD, RIGHT);
			setLeftMotorDutyCycle((uint16_t)(0));
			setRightMotorDutyCycle((uint16_t)(0));
			osDelay(100);

			// Rescue routine complete
			is_rescue_complete = true;
			base_speed = 180;	// (200) 50 is lowest possible
			base_turn_speed = 80;
			target_reached_time = total_time;
		}

		// start line detection routine
		if((blue_data_R < start_line_blue_side && blue_data_L < start_line_blue_side ) && (is_dropoff_complete && enable_autonomy))
		{
			if(blue_data_C > start_line_blue_center && near_start_line)
			{
				// Stop to stabilize
				setLeftMotorDutyCycle((uint16_t)(0));
				setRightMotorDutyCycle((uint16_t)(0));
				htim1.Instance->CCR2 = open_pwm;
				while(true)
				{
					printf("Course complete!");
				}
			}

		}

		float error = red_ratio_R-red_ratio_L;
		error_signal = error;

		float derivative = -(error-previous_error) / taskPeriod;
		//integral += ((error+previous_error)/2) * taskPeriod; // trapezoidal estimation

		previous_error = error;
		p_term = Kp * error;
		d_term = Kd * derivative;
		i_term = Ki * integral;

		control_signal = Kp * error; //Kd * derivative; // + Ki * integral;

		if(control_signal > 0)
		{
			//turn right -> left motor should be powered more
			setMotorDirection(FORWARD, LEFT);
			leftMotorDuty = base_speed+control_signal;
			rightMotorDuty = base_speed;

			// check if ultra mode required
			if(error > error_max)
			{
				// enter ultra mode
				rightMotorDuty = control_signal; //control_signal;
				leftMotorDuty = (base_turn_speed*turn_compensation_factor)+control_signal;
				setMotorDirection(BACKWARD, RIGHT);
			}else{
				setMotorDirection(FORWARD, RIGHT);
			}
		}
		else if (control_signal < 0)
		{
			//turn left -> right motor should be powered more
			setMotorDirection(FORWARD, RIGHT);
			rightMotorDuty = base_speed + (uint16_t)(-control_signal);
			leftMotorDuty = base_speed;

			// check if ultra mode required
			if(error < -error_max)
			{
				// enter ultra mode
				rightMotorDuty = (base_turn_speed*turn_compensation_factor) + (uint16_t)(-control_signal);
				leftMotorDuty = -control_signal;
				setMotorDirection(BACKWARD, LEFT);
			}else{
				setMotorDirection(FORWARD, LEFT);
			}
		}
		else{
			setMotorDirection(FORWARD, RIGHT);
			setMotorDirection(FORWARD, LEFT);
			leftMotorDuty = base_speed;
			rightMotorDuty = base_speed;
		}

		appliedLeftMotorDuty = leftMotorDuty;
		appliedRightMotorDuty = rightMotorDuty;

		if(!enable_autonomy)
		{
			setRightMotorDutyCycle(0);
			setLeftMotorDutyCycle(0);
			continue;
		}

		setLeftMotorDutyCycle((uint16_t)(appliedLeftMotorDuty));
		setRightMotorDutyCycle((uint16_t)(appliedRightMotorDuty));

	  }

  /* USER CODE END wheelMotorTask */
}

void HAL_TIM_PeriodElapsedCallback(TIM_HandleTypeDef *htim)
{
  if (htim->Instance == TIM2) {
    HAL_IncTick();
  }
}

void Error_Handler(void)
{
  __disable_irq();
  while (1)
  {
  }
}

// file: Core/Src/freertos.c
/* USER CODE BEGIN Header */
/**
  ******************************************************************************
  * File Name          : freertos.c
  * Description        : Code for freertos applications
  ******************************************************************************
  * @attention
  *
  * Copyright (c) 2024 STMicroelectronics.
  * All rights reserved.
  *
  * This software is licensed under terms that can be found in the LICENSE file
  * in the root directory of this software component.
  * If no LICENSE file comes with this software, it is provided AS-IS.
  *
  ******************************************************************************
  */
/* USER CODE END Header */

#include "FreeRTOS.h"
#include "task.h"
#include "main.h"

/* Hook prototypes */
void vApplicationTickHook(void);

/* USER CODE BEGIN 3 */
void vApplicationTickHook( void )
{
   /* This function will be called by each tick interrupt if
   configUSE_TICK_HOOK is set to 1 in FreeRTOSConfig.h. User code can be
   added here, but the tick hook is called from an interrupt context, so
   code must not attempt to block, and only the interrupt safe FreeRTOS API
   functions can be used (those that end in FromISR()). */
}
/* USER CODE END 3 */
